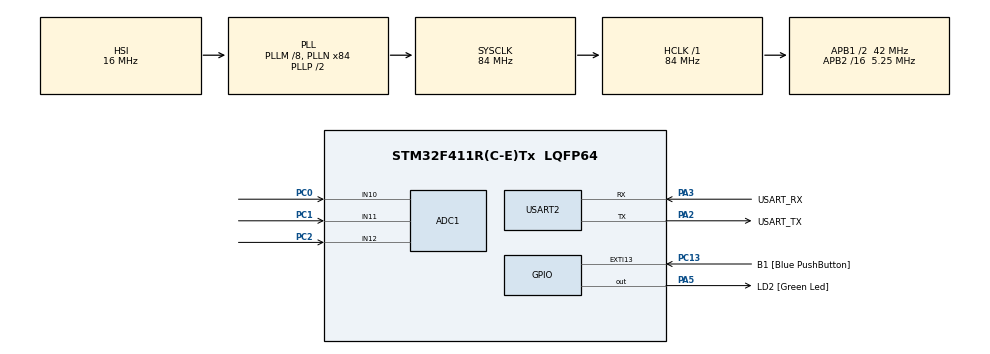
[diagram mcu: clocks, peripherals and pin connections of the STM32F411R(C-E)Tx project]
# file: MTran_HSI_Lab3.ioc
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ADC1.Channel-0\#ChannelRegularConversion=ADC_CHANNEL_10
ADC1.Channel-1\#ChannelRegularConversion=ADC_CHANNEL_11
ADC1.Channel-2\#ChannelRegularConversion=ADC_CHANNEL_12
ADC1.Channel-3\#ChannelRegularConversion=ADC_CHANNEL_TEMPSENSOR
ADC1.ClockPrescaler=ADC_CLOCK_SYNC_PCLK_DIV8
ADC1.ContinuousConvMode=ENABLE
ADC1.DMAContinuousRequests=ENABLE
ADC1.EOCSelection=ADC_EOC_SINGLE_CONV
ADC1.ExternalTrigConv=ADC_SOFTWARE_START
ADC1.NbrOfConversion=4
ADC1.NbrOfConversionFlag=1
ADC1.Rank-0\#ChannelRegularConversion=1
ADC1.Rank-1\#ChannelRegularConversion=2
ADC1.Rank-2\#ChannelRegularConversion=3
ADC1.Rank-3\#ChannelRegularConversion=4
ADC1.SamplingTime-0\#ChannelRegularConversion=ADC_SAMPLETIME_3CYCLES
ADC1.SamplingTime-1\#ChannelRegularConversion=ADC_SAMPLETIME_3CYCLES
ADC1.SamplingTime-2\#ChannelRegularConversion=ADC_SAMPLETIME_3CYCLES
ADC1.SamplingTime-3\#ChannelRegularConversion=ADC_SAMPLETIME_56CYCLES
ADC1.ScanConvMode=ENABLE
ADC1.master=1
Dma.ADC1.0.Direction=DMA_PERIPH_TO_MEMORY
Dma.ADC1.0.FIFOMode=DMA_FIFOMODE_DISABLE
Dma.ADC1.0.Instance=DMA2_Stream0
Dma.ADC1.0.MemDataAlignment=DMA_MDATAALIGN_WORD
Dma.ADC1.0.MemInc=DMA_MINC_ENABLE
Dma.ADC1.0.Mode=DMA_CIRCULAR
Dma.ADC1.0.PeriphDataAlignment=DMA_PDATAALIGN_WORD
Dma.ADC1.0.PeriphInc=DMA_PINC_DISABLE
Dma.ADC1.0.Priority=DMA_PRIORITY_LOW
Dma.Request0=ADC1
Mcu.Family=STM32F4
Mcu.Name=STM32F411R(C-E)Tx
Mcu.Package=LQFP64
NVIC.ADC_IRQn=true\:0\:0\:false\:false\:true\:true\:true\:true
NVIC.DMA2_Stream0_IRQn=true\:0\:0\:false\:false\:true\:false\:true\:true
NVIC.PriorityGroup=NVIC_PRIORITYGROUP_0
PA13.GPIO_Label=TMS
PA13.Mode=Serial_Wire
PA13.Signal=SYS_JTMS-SWDIO
PA14.GPIO_Label=TCK
PA14.Mode=Serial_Wire
PA14.Signal=SYS_JTCK-SWCLK
PA2.GPIO_Label=USART_TX
PA2.Mode=Asynchronous
PA2.Signal=USART2_TX
PA3.GPIO_Label=USART_RX
PA3.Mode=Asynchronous
PA3.Signal=USART2_RX
PA5.GPIO_Label=LD2 [Green Led]
PA5.Signal=GPIO_Output
PB3.GPIO_Label=SWO
PB3.Signal=SYS_JTDO-SWO
PC0.Signal=ADCx_IN10
PC1.Signal=ADCx_IN11
PC13-ANTI_TAMP.GPIO_Label=B1 [Blue PushButton]
PC13-ANTI_TAMP.GPIO_ModeDefaultEXTI=GPIO_MODE_IT_FALLING
PC13-ANTI_TAMP.Signal=GPXTI13
PC14-OSC32_IN.Mode=LSE-External-Oscillator
PC14-OSC32_IN.Signal=RCC_OSC32_IN
PC15-OSC32_OUT.Mode=LSE-External-Oscillator
PC15-OSC32_OUT.Signal=RCC_OSC32_OUT
PC2.Signal=ADCx_IN12
PH0\ -\ OSC_IN.Mode=HSE-External-Clock-Source
PH0\ -\ OSC_IN.Signal=RCC_OSC_IN
PH1\ -\ OSC_OUT.Mode=HSE-External-Clock-Source
PH1\ -\ OSC_OUT.Signal=RCC_OSC_OUT
ProjectManager.HeapSize=0x200
ProjectManager.StackSize=0x400
ProjectManager.TargetToolchain=STM32CubeIDE
RCC.48MHZClocksFreq_Value=42000000
RCC.AHBFreq_Value=84000000
RCC.APB1CLKDivider=RCC_HCLK_DIV2
RCC.APB1Freq_Value=42000000
RCC.APB1TimFreq_Value=84000000
RCC.APB2CLKDivider=RCC_HCLK_DIV16
RCC.APB2Freq_Value=5250000
RCC.APB2TimFreq_Value=10500000
RCC.CortexFreq_Value=84000000
RCC.FLatency-AdvancedSettings=FLASH_LATENCY_2
RCC.HCLKFreq_Value=84000000
RCC.HSE_VALUE=8000000
RCC.HSI_VALUE=16000000
RCC.PLLM=8
RCC.PLLN=84
RCC.SYSCLKFreq_VALUE=84000000
RCC.SYSCLKSource=RCC_SYSCLKSOURCE_PLLCLK
RCC.VCOOutputFreq_Value=168000000
SH.ADCx_IN10.0=ADC1_IN10,IN10
SH.ADCx_IN11.0=ADC1_IN11,IN11
SH.ADCx_IN12.0=ADC1_IN12,IN12
USART2.VirtualMode=VM_ASYNC
VP_ADC1_TempSens_Input.Mode=IN-TempSens
board=NUCLEO-F411RE

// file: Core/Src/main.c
/* USER CODE BEGIN Header */
/**
  ******************************************************************************
  * @file           : main.c
  * @brief          : Main program body
  ******************************************************************************
  * @attention
  *
  * Copyright (c) 2024 STMicroelectronics.
  * All rights reserved.
  *
  * This software is licensed under terms that can be found in the LICENSE file
  * in the root directory of this software component.
  * If no LICENSE file comes with this software, it is provided AS-IS.
  *
  ******************************************************************************
  */
/*
* FILE : main.c
* PROJECT : ADC - Lab3
* PROGRAMMER : Minh Quan Tran
* FIRST VERSION : 2024 - 09 - 26
* DESCRIPTION : This file is the main code file to read ADC input and temperature sensor
*/
/* USER CODE END Header */
#include "main.h"

/* USER CODE BEGIN Includes */
#include "stdint.h"
#include <stdio.h>
#include "userInput.h"
/* USER CODE END Includes */

/* USER CODE BEGIN PD */
#define PUTCHAR_PROTOTYPE int __io_putchar(int ch)
#define GETCHAR_PROTOTYPE int __io_getchar (void)

#define NUMBER_OF_CHANNEL 4

#define V25               0.76    //0.76V
#define AVG_SLOPE         0.0025  //2.5mv/oC
/* USER CODE END PD */

ADC_HandleTypeDef hadc1;
DMA_HandleTypeDef hdma_adc1;

UART_HandleTypeDef huart2;

/* USER CODE BEGIN PV */
volatile uint32_t adc1Val, adc2Val, adc3Val, tempVal;
volatile float adc1Vol, adc2Vol, adc3Vol, tempVol;
uint32_t buffer[NUMBER_OF_CHANNEL];

float Vsense = 3.3 / 4095;
/* USER CODE END PV */

void SystemClock_Config(void);
static void MX_GPIO_Init(void);
static void MX_DMA_Init(void);
static void MX_USART2_UART_Init(void);
static void MX_ADC1_Init(void);

/* USER CODE BEGIN 0 */

/* FUNCTION : adcConvertVoltage
*
* DESCRIPTION : This function is used to convert the ADC 12 bit value to Voltage
* 				value ( 12 bit -> 4095) and 3.3V is maximum so the formula is
* 				voltage = adcValue * 3.3 / 4095
*
* PARAMETERS : uint32_t adcVal - ADC 12 bits value
* RETURNS 	 :  Float 		   - Voltage value
*
*/
float adcConvertVoltage(uint32_t adcVal)
{
	return adcVal * 3.3 / 4095;
}

/* FUNCTION : getTemp
*
* DESCRIPTION : This function is used to get the internal temperature of the Nucleo
* 				board, the formula to calculate is ((Vsense - V25)/AVG_SLOPE) + 25
* 				(refer STM32F411 reference manual p222)
* 				V25 and AVG_SLOPE value refer to STM32F411CE datasheet p120
*
* PARAMETERS :  float Vsense - Voltage value of temperature sensor
* RETURNS    :  Float 		 - Temperature value
*
*/
float getTemp(float Vsense)
{
	return ((Vsense - V25)/AVG_SLOPE) + 25;
}

/* FUNCTION : HAL_ADC_ConvCpltCallback
*
* DESCRIPTION : This function is used to get the ADC value and convert
* 				to Voltage value whenever conversion occur.
* 				Note: In order to change how often the callback occur change
* 				the adc_clock frequency or change the sampling time for
* 				each channel.
*
* PARAMETERS :  ADC_HandleTypeDef *hadc - ADC Handler
* RETURNS    :  Void
*
*/
void HAL_ADC_ConvCpltCallback(ADC_HandleTypeDef *hadc)
{
	// Get ADC value from DMA and convert the value to Voltage
	adc1Val = buffer[0];
	adc1Vol = adcConvertVoltage(adc1Val);

	adc2Val = buffer[1];
	adc2Vol = adcConvertVoltage(adc2Val);

	adc3Val = buffer[2];
	adc3Vol = adcConvertVoltage(adc3Val);

	tempVal = buffer[3];
	tempVol = adcConvertVoltage(tempVal);
}
/* USER CODE END 0 */

int main(void)
{

  /* USER CODE BEGIN 1 */
	float temp;
  /* USER CODE END 1 */

  /* MCU Configuration--------------------------------------------------------*/

  /* Reset of all peripherals, Initializes the Flash interface and the Systick. */
  HAL_Init();

  /* Configure the system clock */
  SystemClock_Config();

  /* Initialize all configured peripherals */
  MX_GPIO_Init();
  MX_DMA_Init();
  MX_USART2_UART_Init();
  MX_ADC1_Init();
  /* USER CODE BEGIN 2 */
  //HAL_ADC_Start_IT(&hadc1);
  HAL_ADC_Start_DMA(&hadc1,(uint32_t*) buffer, NUMBER_OF_CHANNEL);
  /* USER CODE END 2 */

  /* Infinite loop */
  /* USER CODE BEGIN WHILE */
  while (1)
  {
	  temp = getTemp(tempVol); // get temperature value
	  printf("ADC10: %lu(%.1f), ADC11: %lu(%.1f), ADC12: %lu(%.1f), Temp: %lu(%.1fC)\r\n", adc1Val, adc1Vol,
			  	  	  	  	  	  	  	  	  	  	  	  	  	  	     	 	 	 	   adc2Val, adc2Vol,
																	                       adc3Val, adc3Vol,
																						   tempVal, temp);
	  HAL_Delay(100);  // Send every 100ms
    /* USER CODE END WHILE */

  }
}

void SystemClock_Config(void)
{
  RCC_OscInitTypeDef RCC_OscInitStruct = {0};
  RCC_ClkInitTypeDef RCC_ClkInitStruct = {0};

  /** Configure the main internal regulator output voltage
  */
  __HAL_RCC_PWR_CLK_ENABLE();
  __HAL_PWR_VOLTAGESCALING_CONFIG(PWR_REGULATOR_VOLTAGE_SCALE1);

  /** Initializes the RCC Oscillators according to the specified parameters
  * in the RCC_OscInitTypeDef structure.
  */
  RCC_OscInitStruct.OscillatorType = RCC_OSCILLATORTYPE_HSI;
  RCC_OscInitStruct.HSIState = RCC_HSI_ON;
  RCC_OscInitStruct.HSICalibrationValue = RCC_HSICALIBRATION_DEFAULT;
  RCC_OscInitStruct.PLL.PLLState = RCC_PLL_ON;
  RCC_OscInitStruct.PLL.PLLSource = RCC_PLLSOURCE_HSI;
  RCC_OscInitStruct.PLL.PLLM = 8;
  RCC_OscInitStruct.PLL.PLLN = 84;
  RCC_OscInitStruct.PLL.PLLP = RCC_PLLP_DIV2;
  RCC_OscInitStruct.PLL.PLLQ = 4;
  if (HAL_RCC_OscConfig(&RCC_OscInitStruct) != HAL_OK)
  {
    Error_Handler();
  }

  /** Initializes the CPU, AHB and APB buses clocks
  */
  RCC_ClkInitStruct.ClockType = RCC_CLOCKTYPE_HCLK|RCC_CLOCKTYPE_SYSCLK
                              |RCC_CLOCKTYPE_PCLK1|RCC_CLOCKTYPE_PCLK2;
  RCC_ClkInitStruct.SYSCLKSource = RCC_SYSCLKSOURCE_PLLCLK;
  RCC_ClkInitStruct.AHBCLKDivider = RCC_SYSCLK_DIV1;
  RCC_ClkInitStruct.APB1CLKDivider = RCC_HCLK_DIV2;
  RCC_ClkInitStruct.APB2CLKDivider = RCC_HCLK_DIV16;

  if (HAL_RCC_ClockConfig(&RCC_ClkInitStruct, FLASH_LATENCY_2) != HAL_OK)
  {
    Error_Handler();
  }
}

static void MX_ADC1_Init(void)
{

  ADC_ChannelConfTypeDef sConfig = {0};

  /** Configure the global features of the ADC (Clock, Resolution, Data Alignment and number of conversion)
  */
  hadc1.Instance = ADC1;
  hadc1.Init.ClockPrescaler = ADC_CLOCK_SYNC_PCLK_DIV8;
  hadc1.Init.Resolution = ADC_RESOLUTION_12B;
  hadc1.Init.ScanConvMode = ENABLE;
  hadc1.Init.ContinuousConvMode = ENABLE;
  hadc1.Init.DiscontinuousConvMode = DISABLE;
  hadc1.Init.ExternalTrigConvEdge = ADC_EXTERNALTRIGCONVEDGE_NONE;
  hadc1.Init.ExternalTrigConv = ADC_SOFTWARE_START;
  hadc1.Init.DataAlign = ADC_DATAALIGN_RIGHT;
  hadc1.Init.NbrOfConversion = 4;
  hadc1.Init.DMAContinuousRequests = ENABLE;
  hadc1.Init.EOCSelection = ADC_EOC_SINGLE_CONV;
  if (HAL_ADC_Init(&hadc1) != HAL_OK)
  {
    Error_Handler();
  }

  /** Configure for the selected ADC regular channel its corresponding rank in the sequencer and its sample time.
  */
  sConfig.Channel = ADC_CHANNEL_10;
  sConfig.Rank = 1;
  sConfig.SamplingTime = ADC_SAMPLETIME_3CYCLES;
  if (HAL_ADC_ConfigChannel(&hadc1, &sConfig) != HAL_OK)
  {
    Error_Handler();
  }

  /** Configure for the selected ADC regular channel its corresponding rank in the sequencer and its sample time.
  */
  sConfig.Channel = ADC_CHANNEL_11;
  sConfig.Rank = 2;
  if (HAL_ADC_ConfigChannel(&hadc1, &sConfig) != HAL_OK)
  {
    Error_Handler();
  }

  /** Configure for the selected ADC regular channel its corresponding rank in the sequencer and its sample time.
  */
  sConfig.Channel = ADC_CHANNEL_12;
  sConfig.Rank = 3;
  if (HAL_ADC_ConfigChannel(&hadc1, &sConfig) != HAL_OK)
  {
    Error_Handler();
  }

  /** Configure for the selected ADC regular channel its corresponding rank in the sequencer and its sample time.
  */
  sConfig.Channel = ADC_CHANNEL_TEMPSENSOR;
  sConfig.Rank = 4;
  sConfig.SamplingTime = ADC_SAMPLETIME_56CYCLES;
  if (HAL_ADC_ConfigChannel(&hadc1, &sConfig) != HAL_OK)
  {
    Error_Handler();
  }

}

static void MX_USART2_UART_Init(void)
{

  huart2.Instance = USART2;
  huart2.Init.BaudRate = 115200;
  huart2.Init.WordLength = UART_WORDLENGTH_8B;
  huart2.Init.StopBits = UART_STOPBITS_1;
  huart2.Init.Parity = UART_PARITY_NONE;
  huart2.Init.Mode = UART_MODE_TX_RX;
  huart2.Init.HwFlowCtl = UART_HWCONTROL_NONE;
  huart2.Init.OverSampling = UART_OVERSAMPLING_16;
  if (HAL_UART_Init(&huart2) != HAL_OK)
  {
    Error_Handler();
  }

}

static void MX_DMA_Init(void)
{

  /* DMA controller clock enable */
  __HAL_RCC_DMA2_CLK_ENABLE();

  /* DMA interrupt init */
  /* DMA2_Stream0_IRQn interrupt configuration */
  HAL_NVIC_SetPriority(DMA2_Stream0_IRQn, 0, 0);
  HAL_NVIC_EnableIRQ(DMA2_Stream0_IRQn);

}

static void MX_GPIO_Init(void)
{
  GPIO_InitTypeDef GPIO_InitStruct = {0};

  /* GPIO Ports Clock Enable */
  __HAL_RCC_GPIOC_CLK_ENABLE();
  __HAL_RCC_GPIOH_CLK_ENABLE();
  __HAL_RCC_GPIOA_CLK_ENABLE();
  __HAL_RCC_GPIOB_CLK_ENABLE();

  /*Configure GPIO pin Output Level */
  HAL_GPIO_WritePin(LD2_GPIO_Port, LD2_Pin, GPIO_PIN_RESET);

  /*Configure GPIO pin : B1_Pin */
  GPIO_InitStruct.Pin = B1_Pin;
  GPIO_InitStruct.Mode = GPIO_MODE_IT_FALLING;
  GPIO_InitStruct.Pull = GPIO_NOPULL;
  HAL_GPIO_Init(B1_GPIO_Port, &GPIO_InitStruct);

  /*Configure GPIO pin : LD2_Pin */
  GPIO_InitStruct.Pin = LD2_Pin;
  GPIO_InitStruct.Mode = GPIO_MODE_OUTPUT_PP;
  GPIO_InitStruct.Pull = GPIO_NOPULL;
  GPIO_InitStruct.Speed = GPIO_SPEED_FREQ_LOW;
  HAL_GPIO_Init(LD2_GPIO_Port, &GPIO_InitStruct);

}

/* USER CODE BEGIN 4 */
PUTCHAR_PROTOTYPE
{/* Place your implementation of fputc here */
/* e.g. write a character to the USART1 and Loop until the end of transmission */
HAL_UART_Transmit(&huart2, (uint8_t *)&ch, 1, 0xFFFF);
return ch;
}
GETCHAR_PROTOTYPE
{uint8_t ch = 0;
// Clear the Overrun flag just before receiving the first character
__HAL_UART_CLEAR_OREFLAG(&huart2);
HAL_UART_Receive(&huart2, (uint8_t *)&ch, 1, 5);
return ch;
}
/* USER CODE END 4 */

void Error_Handler(void)
{
  __disable_irq();
  while (1)
  {
  }
}
